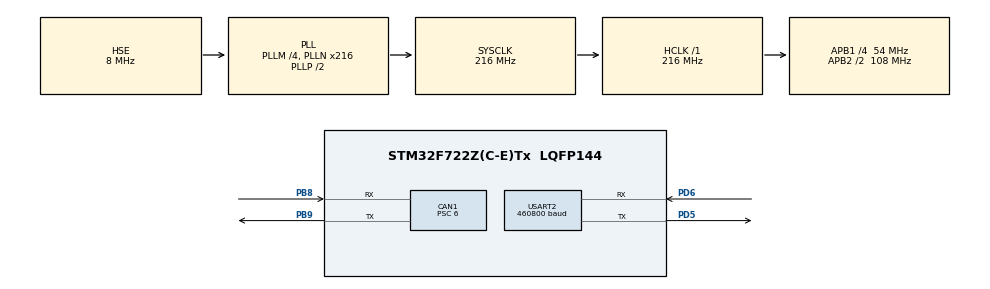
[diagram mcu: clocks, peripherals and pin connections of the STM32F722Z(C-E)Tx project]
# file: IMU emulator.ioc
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CAN1.BS1=CAN_BS1_7TQ
CAN1.CalculateBaudRate=1000000
CAN1.CalculateTimeBit=1000
CAN1.CalculateTimeQuantum=111.11111111111111
CAN1.Prescaler=6
Mcu.Family=STM32F7
Mcu.Name=STM32F722Z(C-E)Tx
Mcu.Package=LQFP144
NVIC.CAN1_RX0_IRQn=true\:0\:0\:false\:false\:true\:true\:true\:true
NVIC.PriorityGroup=NVIC_PRIORITYGROUP_4
PB8.Mode=CAN_Activate
PB8.Signal=CAN1_RX
PB9.Mode=CAN_Activate
PB9.Signal=CAN1_TX
PD5.Mode=Asynchronous
PD5.Signal=USART2_TX
PD6.Mode=Asynchronous
PD6.Signal=USART2_RX
PH0-OSC_IN.Mode=HSE-External-Clock-Source
PH0-OSC_IN.Signal=RCC_OSC_IN
PH1-OSC_OUT.Mode=HSE-External-Clock-Source
PH1-OSC_OUT.Signal=RCC_OSC_OUT
ProjectManager.HeapSize=0x200
ProjectManager.StackSize=0x400
ProjectManager.TargetToolchain=STM32CubeIDE
RCC.48MHZClocksFreq_Value=24000000
RCC.AHBFreq_Value=216000000
RCC.APB1CLKDivider=RCC_HCLK_DIV4
RCC.APB1Freq_Value=54000000
RCC.APB1TimFreq_Value=108000000
RCC.APB2CLKDivider=RCC_HCLK_DIV2
RCC.APB2Freq_Value=108000000
RCC.APB2TimFreq_Value=216000000
RCC.CortexFreq_Value=216000000
RCC.HCLKFreq_Value=216000000
RCC.HSE_VALUE=8000000
RCC.HSI_VALUE=16000000
RCC.LSE_VALUE=32768
RCC.PLLM=4
RCC.PLLMUL=RCC_PLL_MUL9
RCC.PLLN=216
RCC.PLLQ=9
RCC.PLLSourceVirtual=RCC_PLLSOURCE_HSE
RCC.PRESCALERUSB=RCC_USBCLKSOURCE_PLL_DIV1_5
RCC.SYSCLKFreq_VALUE=216000000
RCC.SYSCLKSource=RCC_SYSCLKSOURCE_PLLCLK
RCC.SYSCLKSourceVirtual=RCC_SYSCLKSOURCE_PLLCLK
RCC.USBFreq_Value=48000000
RCC.VCOOutputFreq_Value=432000000
TIM7.Period=1999
TIM7.Prescaler=1079
USART2.BaudRate=460800
USART2.VirtualMode-Asynchronous=VM_ASYNC
VP_TIM7_VS_ClockSourceINT.Mode=Enable_Timer
board=NUCLEO-F722ZE

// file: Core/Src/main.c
/* USER CODE BEGIN Header */
/**
  ******************************************************************************
  * @file           : main.c
  * @brief          : Main program body
  ******************************************************************************
  * @attention
  *
  * Copyright (c) 2025 STMicroelectronics.
  * All rights reserved.
  *
  * This software is licensed under terms that can be found in the LICENSE file
  * in the root directory of this software component.
  * If no LICENSE file comes with this software, it is provided AS-IS.
  *
  ******************************************************************************
  */
/* USER CODE END Header */
#include "main.h"

/* USER CODE BEGIN Includes */
#include <string.h>
/* USER CODE END Includes */

/* USER CODE BEGIN PTD */
CAN_RxHeaderTypeDef RxHeader;
uint8_t can_data[8];

/* USER CODE END PTD */

CAN_HandleTypeDef hcan1;

TIM_HandleTypeDef htim7;

UART_HandleTypeDef huart2;

/* USER CODE BEGIN PV */

typedef struct {
    uint8_t gyro_x : 1;   // Bit 0
    uint8_t gyro_y : 1;   // Bit 1
    uint8_t gyro_z : 1;   // Bit 2
    uint8_t reserved1 : 1;// Bit 3
    uint8_t accel_x : 1;  // Bit 4
    uint8_t accel_y : 1;  // Bit 5
    uint8_t accel_z : 1;  // Bit 6
    uint8_t reserved2 : 1;// Bit 7
} imuStatus;

typedef struct{
	float Xrot;
	float Yrot;
	float Zrot;
	float Xaccel;
	float Yaccel;
	float Zaccel;
	uint8_t status;
	uint8_t seq;
	int16_t temp;

}message_data_format_t;

typedef struct  {

	uint32_t header;
	message_data_format_t data;
	uint32_t crc;

}message_format_t;
/* USER CODE END PV */

void SystemClock_Config(void);
static void MX_GPIO_Init(void);
static void MX_CAN1_Init(void);
static void MX_TIM7_Init(void);
static void MX_USART2_UART_Init(void);
/* USER CODE BEGIN PFP */
void can_filter_config();
void crc_generator();
uint32_t calculate_crc32(const uint8_t *data, size_t length);
void reverse_bytes(uint8_t *src, uint8_t *dst, uint32_t len);

/* USER CODE END PFP */

/* USER CODE BEGIN 0 */
uint32_t start_time;
uint32_t stop_time;
uint8_t  send_flag = 0;
message_format_t msg;
/* USER CODE END 0 */

int main(void)
{

  /* MCU Configuration--------------------------------------------------------*/

  /* Reset of all peripherals, Initializes the Flash interface and the Systick. */
  HAL_Init();

  /* Configure the system clock */
  SystemClock_Config();

  /* Initialize all configured peripherals */
  MX_GPIO_Init();
  MX_CAN1_Init();
  MX_TIM7_Init();
  MX_USART2_UART_Init();
  /* USER CODE BEGIN 2 */
 // HAL_TIM_Base_Start_IT(&htim7);
  HAL_CAN_Start(&hcan1);
  can_filter_config();
  HAL_CAN_ActivateNotification(&hcan1, CAN_IT_RX_FIFO0_MSG_PENDING);
  uint32_t lastTick = HAL_GetTick();

  msg.header = 0x55FF81FE;
  msg.data.temp = 40;
  msg.data.seq = 0;
  msg.data.status = 119;

  /* USER CODE END 2 */

  /* Infinite loop */
  while (1)
  {

    /* USER CODE BEGIN 3 */
	  start_time = HAL_GetTick();

      if ((start_time - lastTick) >= 20)
      {
          lastTick = start_time;

       if(send_flag == 1)
       {
          HAL_UART_Transmit(&huart2,(uint8_t*)&msg,sizeof(message_format_t), 1000);
		  msg.data.seq++;

		  if(msg.data.seq == 127)
		  {

			  msg.data.seq = 0;

		  }

		  send_flag = 0;
       }

      }

  }
  /* USER CODE END 3 */
}

void SystemClock_Config(void)
{
  RCC_OscInitTypeDef RCC_OscInitStruct = {0};
  RCC_ClkInitTypeDef RCC_ClkInitStruct = {0};

  /** Configure the main internal regulator output voltage
  */
  __HAL_RCC_PWR_CLK_ENABLE();
  __HAL_PWR_VOLTAGESCALING_CONFIG(PWR_REGULATOR_VOLTAGE_SCALE1);

  /** Initializes the RCC Oscillators according to the specified parameters
  * in the RCC_OscInitTypeDef structure.
  */
  RCC_OscInitStruct.OscillatorType = RCC_OSCILLATORTYPE_HSE;
  RCC_OscInitStruct.HSEState = RCC_HSE_BYPASS;
  RCC_OscInitStruct.PLL.PLLState = RCC_PLL_ON;
  RCC_OscInitStruct.PLL.PLLSource = RCC_PLLSOURCE_HSE;
  RCC_OscInitStruct.PLL.PLLM = 4;
  RCC_OscInitStruct.PLL.PLLN = 216;
  RCC_OscInitStruct.PLL.PLLP = RCC_PLLP_DIV2;
  RCC_OscInitStruct.PLL.PLLQ = 9;
  if (HAL_RCC_OscConfig(&RCC_OscInitStruct) != HAL_OK)
  {
    Error_Handler();
  }

  /** Activate the Over-Drive mode
  */
  if (HAL_PWREx_EnableOverDrive() != HAL_OK)
  {
    Error_Handler();
  }

  /** Initializes the CPU, AHB and APB buses clocks
  */
  RCC_ClkInitStruct.ClockType = RCC_CLOCKTYPE_HCLK|RCC_CLOCKTYPE_SYSCLK
                              |RCC_CLOCKTYPE_PCLK1|RCC_CLOCKTYPE_PCLK2;
  RCC_ClkInitStruct.SYSCLKSource = RCC_SYSCLKSOURCE_PLLCLK;
  RCC_ClkInitStruct.AHBCLKDivider = RCC_SYSCLK_DIV1;
  RCC_ClkInitStruct.APB1CLKDivider = RCC_HCLK_DIV4;
  RCC_ClkInitStruct.APB2CLKDivider = RCC_HCLK_DIV2;

  if (HAL_RCC_ClockConfig(&RCC_ClkInitStruct, FLASH_LATENCY_7) != HAL_OK)
  {
    Error_Handler();
  }
}

static void MX_CAN1_Init(void)
{

  hcan1.Instance = CAN1;
  hcan1.Init.Prescaler = 6;
  hcan1.Init.Mode = CAN_MODE_NORMAL;
  hcan1.Init.SyncJumpWidth = CAN_SJW_1TQ;
  hcan1.Init.TimeSeg1 = CAN_BS1_7TQ;
  hcan1.Init.TimeSeg2 = CAN_BS2_1TQ;
  hcan1.Init.TimeTriggeredMode = DISABLE;
  hcan1.Init.AutoBusOff = DISABLE;
  hcan1.Init.AutoWakeUp = DISABLE;
  hcan1.Init.AutoRetransmission = DISABLE;
  hcan1.Init.ReceiveFifoLocked = DISABLE;
  hcan1.Init.TransmitFifoPriority = DISABLE;
  if (HAL_CAN_Init(&hcan1) != HAL_OK)
  {
    Error_Handler();
  }

}

static void MX_TIM7_Init(void)
{

  TIM_MasterConfigTypeDef sMasterConfig = {0};

  htim7.Instance = TIM7;
  htim7.Init.Prescaler = 1079;
  htim7.Init.CounterMode = TIM_COUNTERMODE_UP;
  htim7.Init.Period = 1999;
  htim7.Init.AutoReloadPreload = TIM_AUTORELOAD_PRELOAD_DISABLE;
  if (HAL_TIM_Base_Init(&htim7) != HAL_OK)
  {
    Error_Handler();
  }
  sMasterConfig.MasterOutputTrigger = TIM_TRGO_RESET;
  sMasterConfig.MasterSlaveMode = TIM_MASTERSLAVEMODE_DISABLE;
  if (HAL_TIMEx_MasterConfigSynchronization(&htim7, &sMasterConfig) != HAL_OK)
  {
    Error_Handler();
  }

}

static void MX_USART2_UART_Init(void)
{

  huart2.Instance = USART2;
  huart2.Init.BaudRate = 460800;
  huart2.Init.WordLength = UART_WORDLENGTH_8B;
  huart2.Init.StopBits = UART_STOPBITS_1;
  huart2.Init.Parity = UART_PARITY_NONE;
  huart2.Init.Mode = UART_MODE_TX_RX;
  huart2.Init.HwFlowCtl = UART_HWCONTROL_NONE;
  huart2.Init.OverSampling = UART_OVERSAMPLING_16;
  huart2.Init.OneBitSampling = UART_ONE_BIT_SAMPLE_DISABLE;
  huart2.AdvancedInit.AdvFeatureInit = UART_ADVFEATURE_NO_INIT;
  if (HAL_UART_Init(&huart2) != HAL_OK)
  {
    Error_Handler();
  }

}

static void MX_GPIO_Init(void)
{

  /* GPIO Ports Clock Enable */
  __HAL_RCC_GPIOH_CLK_ENABLE();
  __HAL_RCC_GPIOD_CLK_ENABLE();
  __HAL_RCC_GPIOB_CLK_ENABLE();

}

/* USER CODE BEGIN 4 */
void HAL_CAN_RxFifo0MsgPendingCallback(CAN_HandleTypeDef *hcan)
{

	  if (HAL_CAN_GetRxMessage(&hcan1, CAN_RX_FIFO0, &RxHeader, can_data) != HAL_OK)
	  {
		  Error_Handler();

	  }

	  if(RxHeader.ExtId == 0x102)
	  {

		  reverse_bytes(can_data,(uint8_t *)&msg.data, 8);

	  }
	  else if(RxHeader.ExtId == 0x103)
	  {
		  reverse_bytes(can_data,(uint8_t *)&msg.data.Zrot, 4);
		  uint32_t crc = calculate_crc32((uint8_t *)&msg.data,sizeof(message_data_format_t));
		  reverse_bytes((uint8_t *)&crc,(uint8_t *)&msg.crc, 4);
		  send_flag = 1;
	  }

}

void HAL_TIM_PeriodElapsedCallback(TIM_HandleTypeDef *htim)
{

	  if (htim->Instance == TIM7) {
			HAL_UART_Transmit(&huart2,(uint8_t*)&msg,sizeof(message_format_t), 1000);
			  msg.data.seq++;

			  if(msg.data.seq == 127)
			  {

				  msg.data.seq = 0;

			  }
	  }

}

void can_filter_config()
{

	CAN_FilterTypeDef canFilterConfig;

	canFilterConfig.FilterActivation = ENABLE;
	canFilterConfig.FilterBank = 0;  // Filter bank number
	canFilterConfig.FilterMode = CAN_FILTERMODE_IDMASK;  // Mask mode
	canFilterConfig.FilterScale = CAN_FILTERSCALE_32BIT; // 32-bit filter
	canFilterConfig.FilterIdHigh = 0x0000;
	canFilterConfig.FilterIdLow = 0x0000;
	canFilterConfig.FilterMaskIdHigh = 0x0000;
	canFilterConfig.FilterMaskIdLow = 0x0000;
	canFilterConfig.FilterFIFOAssignment = CAN_RX_FIFO0; // FIFO assignment
	canFilterConfig.SlaveStartFilterBank = 14; // For dual CAN (optional)

	if (HAL_CAN_ConfigFilter(&hcan1, &canFilterConfig) != HAL_OK) {
	    // Handle error
	}

}

void reverse_bytes(uint8_t *src, uint8_t *dst, uint32_t len) {
    while (len >= 4) { // Process 4 bytes at a time
        dst[0] = src[len - 1];
        dst[1] = src[len - 2];
        dst[2] = src[len - 3];
        dst[3] = src[len - 4];
        dst += 4;
        len -= 4;
    }
    while (len--) { // Process remaining bytes
        *dst++ = *src--;
    }
}

uint32_t calculate_crc32(const uint8_t *data, size_t length) {

    // Pre-calculated lookup table for the polynomial 0x04C11DB7
	// Corrected pre-calculated lookup table for the polynomial 0x04C11DB7
	static const uint32_t crc_table[256] = {
	    0x00000000, 0x04C11DB7, 0x09823B6E, 0x0D4326D9, 0x130476DC, 0x17C56B6B, 0x1A864DB2, 0x1E475005,
	    0x2608EDB8, 0x22C9F00F, 0x2F8AD6D6, 0x2B4BCB61, 0x350C9B64, 0x31CD86D3, 0x3C8EA00A, 0x384FBDBD,
	    0x4C11DB70, 0x48D0C6C7, 0x4593E01E, 0x4152FDA9, 0x5F15ADAC, 0x5BD4B01B, 0x569796C2, 0x52568B75,
	    0x6A1936C8, 0x6ED82B7F, 0x639B0DA6, 0x675A1011, 0x791D4014, 0x7DDC5DA3, 0x709F7B7A, 0x745E66CD,
	    0x9823B6E0, 0x9CE2AB57, 0x91A18D8E, 0x95609039, 0x8B27C03C, 0x8FE6DD8B, 0x82A5FB52, 0x8664E6E5,
	    0xBE2B5B58, 0xBAEA46EF, 0xB7A96036, 0xB3687D81, 0xAD2F2D84, 0xA9EE3033, 0xA4AD16EA, 0xA06C0B5D,
	    0xD4326D90, 0xD0F37027, 0xDDB056FE, 0xD9714B49, 0xC7361B4C, 0xC3F706FB, 0xCEB42022, 0xCA753D95,
	    0xF23A8028, 0xF6FB9D9F, 0xFBB8BB46, 0xFF79A6F1, 0xE13EF6F4, 0xE5FFEB43, 0xE8BCCD9A, 0xEC7DD02D,
	    0x34867077, 0x30476DC0, 0x3D044B19, 0x39C556AE, 0x278206AB, 0x23431B1C, 0x2E003DC5, 0x2AC12072,
	    0x128E9DCF, 0x164F8078, 0x1B0CA6A1, 0x1FCDBB16, 0x018AEB13, 0x054BF6A4, 0x0808D07D, 0x0CC9CDCA,
	    0x7897AB07, 0x7C56B6B0, 0x71159069, 0x75D48DDE, 0x6B93DDDB, 0x6F52C06C, 0x6211E6B5, 0x66D0FB02,
	    0x5E9F46BF, 0x5A5E5B08, 0x571D7DD1, 0x53DC6066, 0x4D9B3063, 0x495A2DD4, 0x44190B0D, 0x40D816BA,
	    0xACA5C697, 0xAC64DB20, 0xA127FDF9, 0xA5E6E04E, 0xBBA1B04B, 0xBF60ADFC, 0xB2238B25, 0xB6E29692,
	    0x8EAF2B2F, 0x8A6E3698, 0x872D1041, 0x83EC0DDD, 0x9DAB5DDD, 0x996A406A, 0x942966B3, 0x90E87B04,
	    0xE4B68DCC, 0xE077907B, 0xED34B6A2, 0xE9F5A115, 0xF7B2F110, 0xF373E6A7, 0xFE3C07E0, 0xFA2DD697,
	    0xC2CE60DF, 0xC60F7D68, 0xC14C5B11, 0xC58D46A6, 0xDBCA16A3, 0xD78B0B14, 0xDA482DCD, 0xDE09307A
	};

    // 1. Initialize CRC register with XOR In value
    uint32_t crc = 0xFFFFFFFF;

    // 2. Process each byte of data
    for (size_t i = 0; i < length; ++i) {
        // Since Reflect In is False, we XOR the next byte with the MSB of the CRC.
        uint8_t index = (uint8_t)(crc >> 24) ^ data[i];
        // Shift CRC left by 8 bits and XOR with the pre-calculated table value.
        crc = (crc << 8) ^ crc_table[index];
    }

    // 3. Final XOR is 0, and Reflect Out is False, so no final steps are needed.
    return crc;
}

/* USER CODE END 4 */

void Error_Handler(void)
{
  __disable_irq();
  while(1)
  {
  }
}
